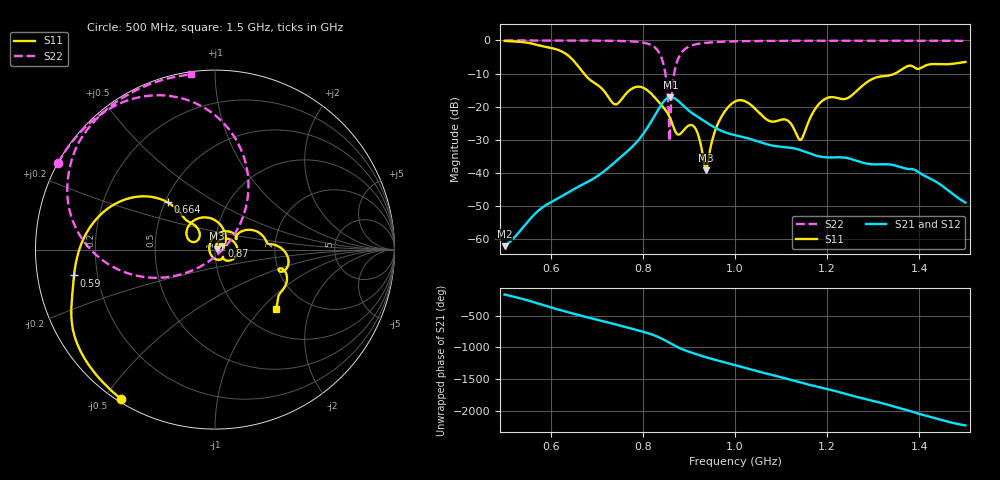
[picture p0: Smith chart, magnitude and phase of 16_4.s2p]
! TOUCHSTONE file generated by CST MICROWAVE STUDIO
! Date and time: Wed Oct 28 19:16:14 2020
! Project name: Scenario_1_Circular_Tissue_out_of_Line.cst
! Parameters = {dy1=-85.885; L_HA=400; MT=2.54; Rad_Dielectric=30; Rad_Lower=7.3; Rad_Upper=30; a_HA=580; a_WG=246; b_HA=500; b_WG=121; c_HA=0; c_WG=187; d_feed=85; dx1=693; h_feed=15; h_lower=18; h_upper=40}
! Header version: 2018
! Port assignment regex: !\s*Touchstone port\s*([0-9]+)\s*=\s*(CST MWS port|CST DS port)\s*([0-9]+|Zmin|Zmax)\s*\(\"(.*)\"\)(\s*mode\s*([0-9]+))?.*
! Touchstone port assignment:
! Touchstone port 1 = CST MWS port 1 ("")
! Touchstone port 2 = CST MWS port 2 ("")
# GHz S DB R 50
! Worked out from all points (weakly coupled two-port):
!   1001 points, 500 MHz to 1.5 GHz, reference 50 ohm
!   highest |S21| = -17.11 dB at 860 MHz (marker M1); lowest = -62.1 dB at 500 MHz (marker M2)
!   lowest |S11| = -39.2 dB at 937 MHz (marker M3), VSWR 1.02, Z = 50.9 + j0.58 ohm
!   |S11| at or under -10 dB: 672.1 MHz to 1.347 GHz (674.9 MHz wide, 66.9 % of centre)
!   |S22| runs from -30.3 to 0.0 dB; largest |S21 - S12| = 0.00071
!   S11 on the Smith chart (normalised r, x): 500 MHz: 0.01, -0.55; 590 MHz: 0.11, -0.09; 664 MHz: 0.52, +0.32; 870 MHz: 1.07, +0.05; 1.5 GHz: 1.42, -1.21
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0.5  -0.15 -122.2  -62.10 -167.4  -62.10 -167.4  -0.01 151.1
0.59  -1.95 -169.6  -49.68 11.3  -49.69 11.3  -0.02 144.8
0.636  -4.36 154.6  -46.05 -82.3  -46.05 -82.3  -0.03 141.1
0.664  -8.57 135.1  -43.85 -137.3  -43.85 -137.3  -0.04 138.6
0.667  -9.11 134.2  -43.64 -143.1  -43.64 -143.1  -0.04 138.3
0.738  -19.22 143.4  -36.92 87.9  -36.92 87.9  -0.12 129.6
0.789  -13.96 130.6  -30.31 -10.2  -30.33 -10.1  -0.43 117.3
0.834  -18.48 65.7  -20.71 -118.1  -20.71 -118.1  -3.39 83.5
0.846  -20.45 51.2  -18.29 -161.0  -18.29 -161.0  -7.88 62.5
0.855  -22.28 39.1  -17.27 162.9  -17.27 162.9  -18.75 34.2
0.86  -23.74 32.9  -17.11 142.4  -17.11 142.4  -23.31 -115.3
0.87  -27.34 32.4  -17.56 103.2  -17.56 103.2  -8.58 -155.0
0.888  -27.21 48.4  -19.75 44.2  -19.74 44.2  -3.04 178.9
0.911  -25.98 12.4  -22.33 -14.5  -22.40 -14.8  -1.30 162.0
0.937  -39.16 31.1  -24.70 -74.4  -24.73 -74.2  -0.72 152.2
0.964  -24.81 63.7  -26.88 -129.5  -26.88 -129.6  -0.44 146.0
1  -18.43 13.7  -28.60 161.5  -28.60 161.5  -0.27 140.2
1.114  -24.14 -65.4  -32.28 -56.0  -32.28 -56.0  -0.12 128.5
1.141  -30.03 -167.3  -33.06 -110.1  -33.06 -110.1  -0.10 126.2
1.167  -22.32 89.7  -34.39 -159.0  -34.39 -159.0  -0.09 124.1
1.334  -10.59 6.5  -37.40 -108.2  -37.40 -108.2  -0.09 111.4
1.5  -6.49 -44.1  -48.94 -68.5  -48.99 -69.0  -0.13 97.8
